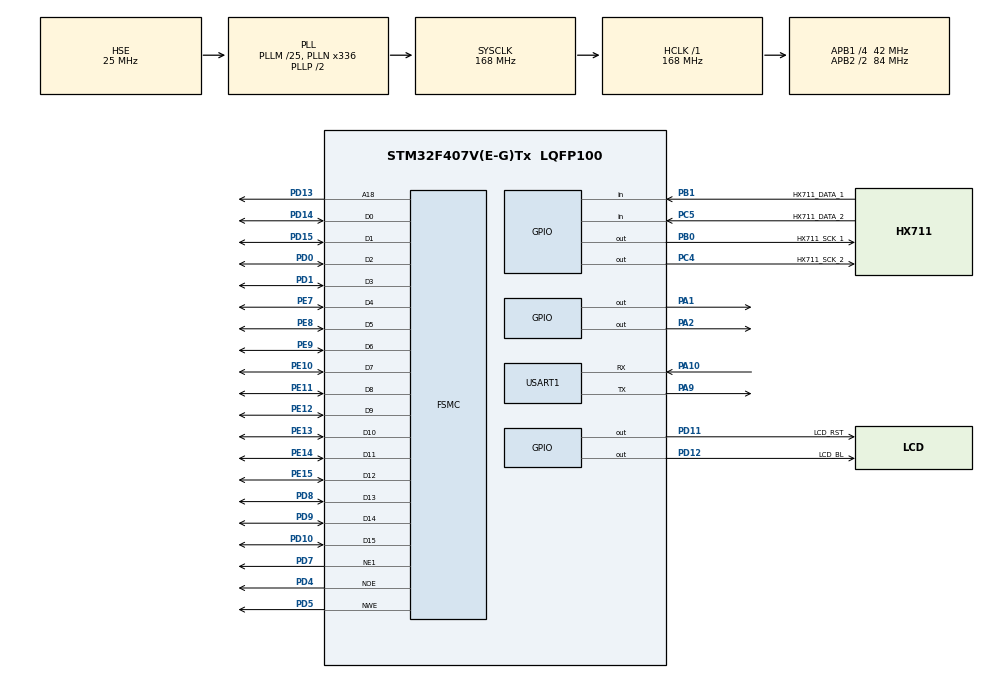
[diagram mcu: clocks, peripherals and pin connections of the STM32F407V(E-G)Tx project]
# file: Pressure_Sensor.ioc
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FSMC.ExtendedMode1=FSMC_EXTENDED_MODE_ENABLE
Mcu.Family=STM32F4
Mcu.Name=STM32F407V(E-G)Tx
Mcu.Package=LQFP100
NVIC.PriorityGroup=NVIC_PRIORITYGROUP_4
NVIC.USART1_IRQn=true\:0\:0\:false\:false\:true\:true\:true\:true
PA1.PinState=GPIO_PIN_SET
PA1.Signal=GPIO_Output
PA10.Mode=Asynchronous
PA10.Signal=USART1_RX
PA13.Mode=Serial_Wire
PA13.Signal=SYS_JTMS-SWDIO
PA14.Mode=Serial_Wire
PA14.Signal=SYS_JTCK-SWCLK
PA2.Signal=GPIO_Output
PA9.Mode=Asynchronous
PA9.Signal=USART1_TX
PB0.GPIO_Label=HX711_SCK_1
PB0.Signal=GPIO_Output
PB1.GPIO_Label=HX711_DATA_1
PB1.GPIO_PuPd=GPIO_PULLUP
PB1.Signal=GPIO_Input
PC4.GPIO_Label=HX711_SCK_2
PC4.Signal=GPIO_Output
PC5.GPIO_Label=HX711_DATA_2
PC5.GPIO_PuPd=GPIO_PULLUP
PC5.Signal=GPIO_Input
PD0.Mode=16b-d1
PD0.Signal=FSMC_D2
PD1.Mode=16b-d1
PD1.Signal=FSMC_D3
PD10.Mode=16b-d1
PD10.Signal=FSMC_D15
PD11.GPIO_Label=LCD_RST
PD11.GPIO_Speed=GPIO_SPEED_FREQ_HIGH
PD11.Signal=GPIO_Output
PD12.GPIO_Label=LCD_BL
PD12.GPIO_Speed=GPIO_SPEED_FREQ_HIGH
PD12.Signal=GPIO_Output
PD13.Mode=A18_1
PD13.Signal=FSMC_A18
PD14.Mode=16b-d1
PD14.Signal=FSMC_D0
PD15.Mode=16b-d1
PD15.Signal=FSMC_D1
PD4.Mode=Lcd1
PD4.Signal=FSMC_NOE
PD5.Mode=Lcd1
PD5.Signal=FSMC_NWE
PD7.Mode=NorPsramChipSelect1_1
PD7.Signal=FSMC_NE1
PD8.Mode=16b-d1
PD8.Signal=FSMC_D13
PD9.Mode=16b-d1
PD9.Signal=FSMC_D14
PE10.Mode=16b-d1
PE10.Signal=FSMC_D7
PE11.Mode=16b-d1
PE11.Signal=FSMC_D8
PE12.Mode=16b-d1
PE12.Signal=FSMC_D9
PE13.Mode=16b-d1
PE13.Signal=FSMC_D10
PE14.Mode=16b-d1
PE14.Signal=FSMC_D11
PE15.Mode=16b-d1
PE15.Signal=FSMC_D12
PE7.Mode=16b-d1
PE7.Signal=FSMC_D4
PE8.Mode=16b-d1
PE8.Signal=FSMC_D5
PE9.Mode=16b-d1
PE9.Signal=FSMC_D6
PH0-OSC_IN.Mode=HSE-External-Oscillator
PH0-OSC_IN.Signal=RCC_OSC_IN
PH1-OSC_OUT.Mode=HSE-External-Oscillator
PH1-OSC_OUT.Signal=RCC_OSC_OUT
ProjectManager.HeapSize=0x200
ProjectManager.StackSize=0x400
ProjectManager.TargetToolchain=MDK-ARM V5.32
RCC.48MHZClocksFreq_Value=84000000
RCC.AHBFreq_Value=168000000
RCC.APB1CLKDivider=RCC_HCLK_DIV4
RCC.APB1Freq_Value=42000000
RCC.APB1TimFreq_Value=84000000
RCC.APB2CLKDivider=RCC_HCLK_DIV2
RCC.APB2Freq_Value=84000000
RCC.APB2TimFreq_Value=168000000
RCC.CortexFreq_Value=168000000
RCC.HCLKFreq_Value=168000000
RCC.HSE_VALUE=25000000
RCC.HSI_VALUE=16000000
RCC.LSE_VALUE=32768
RCC.PLLM=25
RCC.PLLN=336
RCC.PLLSourceVirtual=RCC_PLLSOURCE_HSE
RCC.SYSCLKFreq_VALUE=168000000
RCC.SYSCLKSource=RCC_SYSCLKSOURCE_PLLCLK
RCC.VCOOutputFreq_Value=336000000
TIM2.AutoReloadPreload=TIM_AUTORELOAD_PRELOAD_DISABLE
TIM2.Period=0xFFFFFFFF
TIM2.Prescaler=83
USART1.VirtualMode=VM_ASYNC
VP_TIM2_VS_ClockSourceINT.Mode=Internal
board=custom

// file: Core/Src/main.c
/* USER CODE BEGIN Header */
/**
  ******************************************************************************
  * @file           : main.c
  * @brief          : Main program body
  ******************************************************************************
  * @attention
  *
  * Copyright (c) 2026 STMicroelectronics.
  * All rights reserved.
  *
  * This software is licensed under terms that can be found in the LICENSE file
  * in the root directory of this software component.
  * If no LICENSE file comes with this software, it is provided AS-IS.
  *
  ******************************************************************************
  */
/* USER CODE END Header */
#include "main.h"
#include "tim.h"
#include "usart.h"
#include "gpio.h"
#include "fsmc.h"

/* USER CODE BEGIN Includes */
#include "lcd.h"
#include "hx711.h"
/* USER CODE END Includes */

void SystemClock_Config(void);

int main(void)
{

  /* USER CODE BEGIN 1 */
	u8 x= 0 ;
	u8 lcd_id[12];				          //���LCD ID�ַ���
	volatile u32 real,real1 = 0;
  /* USER CODE END 1 */

  /* MCU Configuration--------------------------------------------------------*/

  /* Reset of all peripherals, Initializes the Flash interface and the Systick. */
  HAL_Init();

  /* Configure the system clock */
  SystemClock_Config();

  /* Initialize all configured peripherals */
  MX_GPIO_Init();
  MX_USART1_UART_Init();
  MX_FSMC_Init();
  MX_TIM2_Init();
  /* USER CODE BEGIN 2 */
	HAL_UART_Receive_IT(&huart1,&app,1);
	HAL_TIM_Base_Start(&htim2);
	LCD_Init();
	POINT_COLOR=RED;
	sprintf((char*)lcd_id,"LCD ID:%04X",lcddev.id);//��LCD ID��ӡ��lcd_id���顣
	Get_Tare(&hx_ch1);
	Get_Tare(&hx_ch2);
  /* USER CODE END 2 */

  /* Infinite loop */
  while (1)
  {

    /* USER CODE BEGIN 3 */
//		switch(x)
//		{
//			case 0:LCD_Clear(WHITE);break;
//			case 1:LCD_Clear(BLACK);break;
//			case 2:LCD_Clear(BLUE);break;
//			case 3:LCD_Clear(RED);break;
//			case 4:LCD_Clear(MAGENTA);break;
//			case 5:LCD_Clear(GREEN);break;
//			case 6:LCD_Clear(CYAN);break;
//			case 7:LCD_Clear(YELLOW);break;
//			case 8:LCD_Clear(BRRED);break;
//			case 9:LCD_Clear(GRAY);break;
//			case 10:LCD_Clear(LGRAY);break;
//			case 11:LCD_Clear(BROWN);break;
//		}
//		POINT_COLOR=RED;
//		LCD_ShowString(30,40,280,24,24,"STM32F407 Core Board ^_^");
//		LCD_ShowString(30,70,200,16,16,"TFTLCD TEST");
// 		LCD_ShowString(30,90,200,16,16,lcd_id);		    //��ʾLCD ID
//		LCD_ShowString(30,110,200,12,12,"WKS SMART");
//		x++;
//		if(x==12)x=0;
//		HAL_GPIO_TogglePin(GPIOA,GPIO_PIN_2);

		if(CalWgtFlag)
		{
			CalWgtFlag = 0;
			CalibraWeight(&hx_ch2,3);
		}
		real = Read_hx711(&hx_ch1);
		real1 = Read_hx711(&hx_ch2);

		Get_Weight(&hx_ch1);
		Get_Weight(&hx_ch2);
		HAL_Delay(500);
		printf("HX711num1 = %d\r\n",real);
		printf("HX711num2 = %d\r\n",real1);

		printf("weight1    = %f\r\n",hx_ch1.weight);
		printf("weight2    = %f\r\n" ,hx_ch2.weight);
		printf("hello\r\n");
		printf("hello\r\n");
		printf("hello\r\n");
    printf("giehub");
		printf("gitignore");
		printf("gitignoreagain");
    	printf("gitignoreagain");
		printf("killkill");
		printf("killkillagain");

  }
  /* USER CODE END 3 */
}

void SystemClock_Config(void)
{
  RCC_OscInitTypeDef RCC_OscInitStruct = {0};
  RCC_ClkInitTypeDef RCC_ClkInitStruct = {0};

  /** Configure the main internal regulator output voltage
  */
  __HAL_RCC_PWR_CLK_ENABLE();
  __HAL_PWR_VOLTAGESCALING_CONFIG(PWR_REGULATOR_VOLTAGE_SCALE1);

  /** Initializes the RCC Oscillators according to the specified parameters
  * in the RCC_OscInitTypeDef structure.
  */
  RCC_OscInitStruct.OscillatorType = RCC_OSCILLATORTYPE_HSE;
  RCC_OscInitStruct.HSEState = RCC_HSE_ON;
  RCC_OscInitStruct.PLL.PLLState = RCC_PLL_ON;
  RCC_OscInitStruct.PLL.PLLSource = RCC_PLLSOURCE_HSE;
  RCC_OscInitStruct.PLL.PLLM = 25;
  RCC_OscInitStruct.PLL.PLLN = 336;
  RCC_OscInitStruct.PLL.PLLP = RCC_PLLP_DIV2;
  RCC_OscInitStruct.PLL.PLLQ = 4;
  if (HAL_RCC_OscConfig(&RCC_OscInitStruct) != HAL_OK)
  {
    Error_Handler();
  }

  /** Initializes the CPU, AHB and APB buses clocks
  */
  RCC_ClkInitStruct.ClockType = RCC_CLOCKTYPE_HCLK|RCC_CLOCKTYPE_SYSCLK
                              |RCC_CLOCKTYPE_PCLK1|RCC_CLOCKTYPE_PCLK2;
  RCC_ClkInitStruct.SYSCLKSource = RCC_SYSCLKSOURCE_PLLCLK;
  RCC_ClkInitStruct.AHBCLKDivider = RCC_SYSCLK_DIV1;
  RCC_ClkInitStruct.APB1CLKDivider = RCC_HCLK_DIV4;
  RCC_ClkInitStruct.APB2CLKDivider = RCC_HCLK_DIV2;

  if (HAL_RCC_ClockConfig(&RCC_ClkInitStruct, FLASH_LATENCY_5) != HAL_OK)
  {
    Error_Handler();
  }
}

void Error_Handler(void)
{
  __disable_irq();
  while (1)
  {
  }
}
